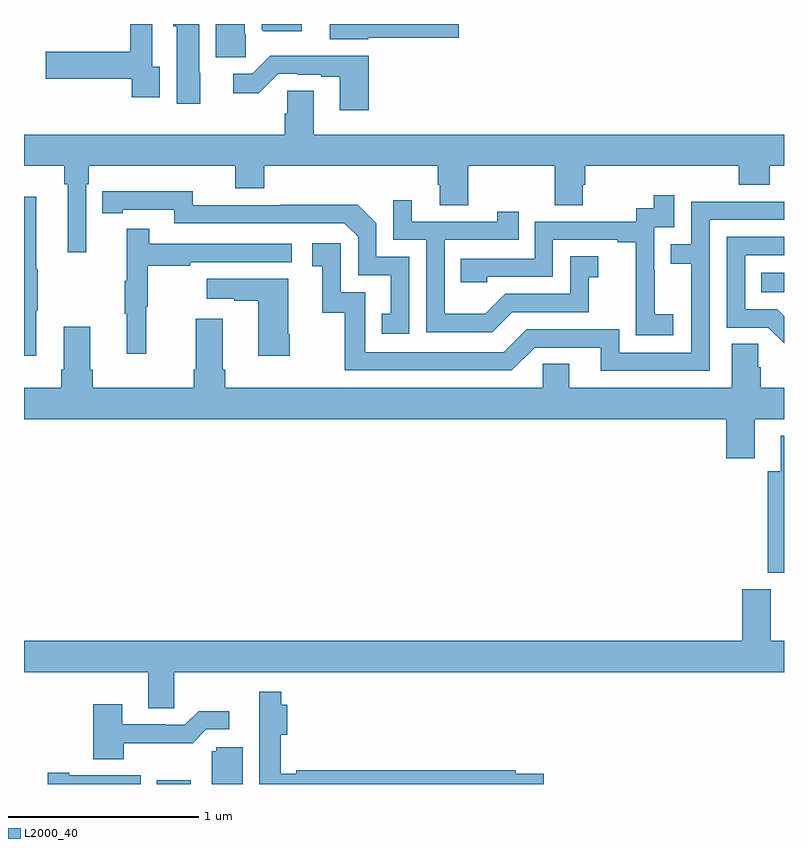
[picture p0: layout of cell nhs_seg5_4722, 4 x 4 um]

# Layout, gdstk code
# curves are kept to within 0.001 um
import gdstk
lib = gdstk.Library(unit=1e-6, precision=1e-09)
def R(c, l, rs):  # rectangles x0, y0, x1, y1
    for r in rs: c.add(gdstk.rectangle(r[:2], r[2:], *l))
def P(c, l, *ps):  # polygons
    for p in ps: c.add(gdstk.Polygon(p, *l))
L2000_40 = (2000, 40)

nhs_seg5_4722 = lib.new_cell('nhs_seg5_4722')
R(nhs_seg5_4722, L2000_40, [(387.699,894.799,387.877,894.82), (390.88,897.386,391,897.49)])
P(nhs_seg5_4722, L2000_40, [(387.928,898.542),(387.922,898.542),(387.922,898.799),(387.785,898.799),(387.785,898.788),(387.803,898.788),(387.803,898.38),(387.928,898.38)],
  [(388.462,898.799),(388.25,898.799),(388.25,898.768),(388.258,898.76),(388.462,898.76)],
  [(387.715,898.574),(387.675,898.574),(387.675,898.799),(387.559,898.799),(387.559,898.652),(387.114,898.652),(387.114,898.51),(387.567,898.51),(387.567,898.413),(387.715,898.413)],
  [(388.812,898.727),(389.287,898.727),(389.287,898.799),(388.61,898.799),(388.61,898.718),(388.812,898.718)],
  [(388.166,898.746),(388.162,898.746),(388.162,898.799),(388.01,898.799),(388.01,898.623),(388.166,898.623)],
  [(388.814,898.631),(388.295,898.631),(388.2,898.536),(388.101,898.536),(388.101,898.434),(388.236,898.434),(388.338,898.536),(388.438,898.536),(388.438,898.533),(388.565,898.533),(388.565,898.521),(388.661,898.521),(388.661,898.344),(388.814,898.344)],
  [(387.327,897.956),(387.341,897.956),(387.341,898.052),(388.112,898.052),(388.112,897.935),(388.265,897.935),(388.265,898.052),(389.177,898.052),(389.177,897.954),(389.189,897.954),(389.189,897.844),(389.337,897.844),(389.337,898.052),(389.794,898.052),(389.794,897.844),(389.941,897.844),(389.941,897.954),(389.954,897.954),(389.954,898.052),(390.761,898.052),(390.761,897.953),(390.926,897.953),(390.926,898.052),(391,898.052),(391,898.216),(388.525,898.216),(388.525,898.448),(388.386,898.448),(388.386,898.326),(388.373,898.326),(388.373,898.216),(387,898.216),(387,898.052),(387.211,898.052),(387.211,897.956),(387.23,897.956),(387.23,897.597),(387.327,897.597)],
  [(389.028,897.573),(388.854,897.573),(388.854,897.75),(388.756,897.848),(388.348,897.848),(388.348,897.846),(387.888,897.846),(387.888,897.919),(387.412,897.918),(387.412,897.802),(387.52,897.802),(387.52,897.822),(387.792,897.822),(387.792,897.75),(388.686,897.75),(388.758,897.678),(388.758,897.477),(388.931,897.477),(388.931,897.273),(388.882,897.273),(388.882,897.168),(389.028,897.168)],
  [(390.418,897.271),(390.32,897.271),(390.32,897.5),(390.318,897.5),(390.318,897.729),(390.423,897.729),(390.423,897.898),(390.315,897.898),(390.315,897.828),(390.222,897.828),(390.222,897.759),(389.688,897.759),(389.688,897.564),(389.299,897.564),(389.299,897.441),(389.439,897.441),(389.439,897.468),(389.784,897.468),(389.784,897.663),(390.125,897.663),(390.125,897.651),(390.221,897.651),(390.221,897.367),(390.22,897.367),(390.22,897.161),(390.418,897.161)],
  [(387.064,897.292),(387.072,897.292),(387.072,897.509),(387.064,897.509),(387.064,897.889),(387,897.889),(387,897.054),(387.064,897.054)],
  [(389.569,897.282),(389.973,897.282),(389.973,897.467),(390.022,897.467),(390.022,897.577),(389.874,897.577),(389.874,897.378),(389.532,897.378),(389.428,897.274),(389.214,897.274),(389.214,897.663),(389.603,897.663),(389.603,897.811),(389.492,897.811),(389.492,897.759),(389.041,897.759),(389.041,897.871),(388.944,897.871),(388.944,897.663),(389.118,897.663),(389.118,897.177),(389.464,897.177)],
  [(390.609,897.768),(391,897.768),(391,897.864),(390.513,897.864),(390.513,897.639),(390.403,897.639),(390.403,897.538),(390.513,897.538),(390.513,897.069),(390.132,897.069),(390.132,897.192),(389.646,897.192),(389.526,897.072),(388.797,897.072),(388.797,897.387),(388.668,897.387),(388.668,897.646),(388.518,897.646),(388.518,897.525),(388.571,897.525),(388.571,897.279),(388.689,897.279),(388.689,896.976),(389.568,896.976),(389.688,897.096),(390.035,897.096),(390.035,896.973),(390.609,896.973)],
  [(387.644,897.312),(387.652,897.312),(387.652,897.526),(387.875,897.526),(387.875,897.546),(388.408,897.546),(388.408,897.642),(387.659,897.642),(387.659,897.721),(387.542,897.721),(387.542,897.449),(387.531,897.449),(387.531,897.275),(387.542,897.275),(387.542,897.063),(387.644,897.063)],
  [(391,897.261),(390.964,897.297),(390.795,897.297),(390.795,897.582),(391,897.582),(391,897.678),(390.699,897.678),(390.699,897.201),(390.918,897.201),(391,897.12)],
  [(388.398,897.166),(388.39,897.166),(388.39,897.457),(387.963,897.457),(387.963,897.353),(388.106,897.353),(388.106,897.343),(388.232,897.343),(388.232,897.054),(388.398,897.054)],
  [(390.847,896.72),(391,896.72),(391,896.884),(390.878,896.884),(390.878,896.993),(390.864,896.993),(390.864,897.116),(390.725,897.116),(390.725,896.884),(389.869,896.884),(389.869,897.011),(389.73,897.011),(389.73,896.884),(388.058,896.884),(388.058,896.98),(388.045,896.98),(388.045,897.247),(387.905,897.247),(387.905,896.98),(387.893,896.98),(387.893,896.884),(387.362,896.884),(387.362,896.98),(387.349,896.98),(387.349,897.205),(387.209,897.205),(387.209,896.98),(387.197,896.98),(387.197,896.884),(387,896.884),(387,896.72),(390.695,896.72),(390.695,896.514),(390.847,896.514)],
  [(391,896.632),(390.983,896.632),(390.983,896.446),(390.914,896.446),(390.914,895.91),(391,895.91)],
  [(387.792,895.388),(391,895.388),(391,895.552),(390.931,895.552),(390.931,895.825),(390.779,895.825),(390.779,895.552),(387,895.552),(387,895.388),(387.653,895.388),(387.653,895.198),(387.792,895.198)],
  [(389.735,894.852),(389.588,894.852),(389.588,894.872),(388.432,894.872),(388.432,894.854),(388.351,894.854),(388.351,895.058),(388.385,895.058),(388.385,895.216),(388.355,895.216),(388.355,895.285),(388.238,895.285),(388.238,895.062),(388.239,895.062),(388.239,894.799),(389.735,894.799)],
  [(387.525,895.014),(387.887,895.013),(387.96,895.086),(388.081,895.086),(388.081,895.183),(387.919,895.183),(387.846,895.11),(387.746,895.11),(387.746,895.113),(387.517,895.113),(387.517,895.219),(387.365,895.219),(387.365,894.929),(387.525,894.929)],
  [(388.15,894.993),(388.011,894.993),(388.011,894.972),(387.989,894.972),(387.989,894.799),(388.15,894.799)],
  [(387.614,894.844),(387.238,894.844),(387.238,894.857),(387.126,894.857),(387.126,894.799),(387.614,894.799)])

lib.write_gds('nhs_seg5_4722.gds')
